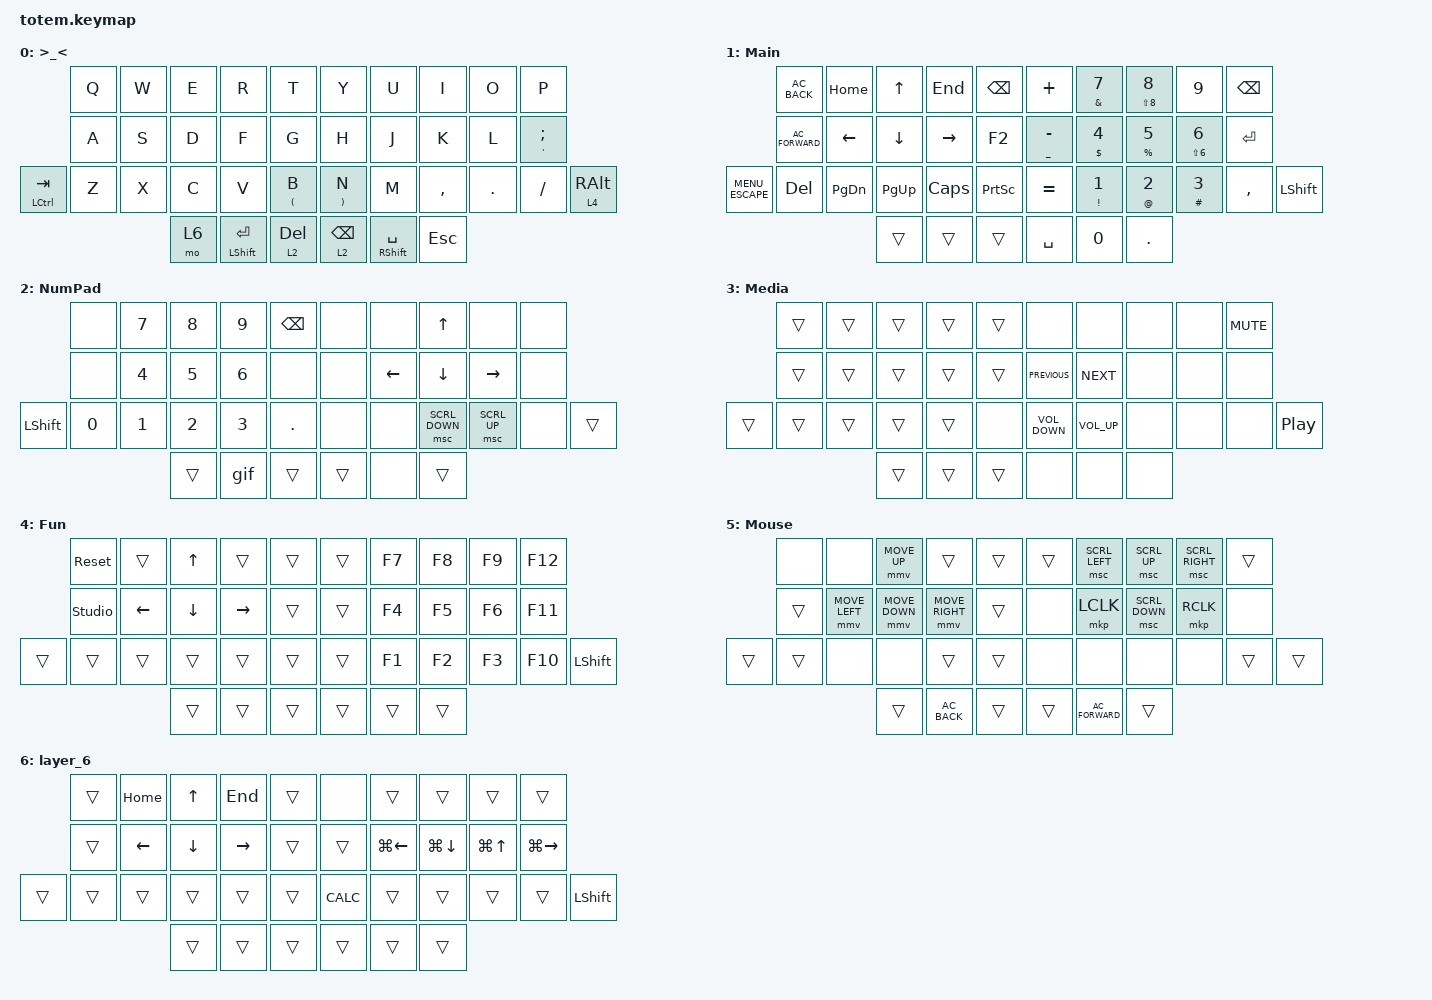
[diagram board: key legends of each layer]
//
//                                                        ▀▀▀▀▀     ▀▀▀▀▀          ▀▀█▀▀
//                                                        ▄▀▀▀▄  ▄  ▄▀▀▀▄  ▄  ▄▀▀▀▄  █  ▄▀▀▀▄
//                                                        █   █  █  █   █  █  █   █  █  █   █
//                                                         ▀▀▀   █   ▀▀▀   █   ▀▀▀   ▀   ▀▀▀
//                                                               █      ▄▄▄█▄▄▄    █   █  
//                                                               ▀      █  █  █     █▄█
//                                                             ▀▀▀▀▀    █  █  █      ▀
//                                                                      ▀  ▀  ▀
//
// ▄▄▄▄▄▄▄▄▄▄▄▄▄▄▄▄▄▄▄▄▄▄▄▄▄▄▄▄▄▄▄▄▄▄▄▄▄▄▄▄▄▄▄▄▄▄▄▄▄▄▄▄▄▄▄▄▄▄▄▄▄▄▄▄▄▄▄▄▄▄▄▄▄▄▄▄▄▄▄▄▄▄▄▄▄▄▄▄▄▄▄▄▄▄▄▄▄▄▄▄▄▄▄▄▄▄▄▄▄▄▄▄▄▄▄▄▄▄▄▄▄▄▄▄▄▄▄▄▄▄▄▄▄▄▄▄▄▄▄▄▄▄▄▄▄▄▄▄▄

#include <behaviors.dtsi>
#include <dt-bindings/zmk/keys.h>
#include <dt-bindings/zmk/pointing.h>

#define BASE 0
#define NAV  1
#define SYM  2
#define ADJ  3
#define TVP1 4
#define TVP2 5

&mt {
    quick-tap-ms = <100>;
    require-prior-idle-ms = <150>;
    flavor = "tap-preferred";
    tapping-term-ms = <180>;
};

/ {
    combos {
        compatible = "zmk,combos";

        wave {
            bindings = <&kp TILDE>;
            key-positions = <0 1>;
        };

        Bcom {
            bindings = <&kp B>;
            key-positions = <26 27>;
        };
    };

    macros {
        gif: gif {
            compatible = "zmk,behavior-macro";
            #binding-cells = <0>;
            bindings =
                <&macro_press>,
                <&kp LSHFT>,
                <&macro_tap>,
                <&kp N2>,
                <&macro_release>,
                <&kp LSHFT>,
                <&macro_tap>,
                <&kp G &kp I &kp F>;
        };
    };

    behaviors {
        hm: homerow-mods {
            compatible = "zmk,behavior-hold-tap";
            bindings = <&kp>, <&kp>;

            #binding-cells = <2>;
            tapping-term-ms = <190>;
            quick-tap-ms = <100>;
            flavor = "tap-preferred";
        };

        retroT: retroT {
            compatible = "zmk,behavior-hold-tap";
            bindings = <&lt>, <&kp>;

            #binding-cells = <2>;
            tapping-term-ms = <180>;
            quick-tap-ms = <100>;
            flavor = "hold-preferred";
            retro-tap;
        };
    };

    keymap {
        compatible = "zmk,keymap";

        // ▄▄▄▄▄▄▄▄▄▄▄▄▄▄▄▄▄▄▄▄▄▄▄▄▄▄▄▄▄▄▄▄▄▄▄▄▄▄▄▄▄▄▄▄▄▄▄▄▄▄▄▄▄▄▄▄▄▄▄▄▄▄▄▄▄▄▄▄▄▄▄▄▄▄▄▄▄▄▄▄▄▄▄▄▄▄▄▄▄▄▄▄▄▄▄▄▄▄▄▄▄▄▄▄▄▄▄▄▄▄▄▄▄▄▄▄▄▄▄▄▄▄▄▄▄▄▄▄▄▄▄▄▄▄▄▄▄▄▄▄▄▄▄▄▄▄▄▄▄

        base_layer {
            display-name = ">_<";

            //             ┏━━━━━━━━━━━┳━━━━━━━━━━━┳━━━━━━━━━━━┳━━━━━━━━━━━┳━━━━━━━━━━━┓   ┏━━━━━━━━━━━┳━━━━━━━━━━━┳━━━━━━━━━━━┳━━━━━━━━━━━┳━━━━━━━━━━━┓
            //             ┃     Q     ┃     W     ┃     F     ┃     P     ┃     G     ┃   ┃     J     ┃     L     ┃     U     ┃     Y     ┃     ;     ┃
            //             ┣━━━━━━━━━━━╋━━━━━━━━━━━╋━━━━━━━━━━━╋━━━━━━━━━━━╋━━━━━━━━━━━┫   ┣━━━━━━━━━━━╋━━━━━━━━━━━╋━━━━━━━━━━━╋━━━━━━━━━━━╋━━━━━━━━━━━┫
            //             ┃     A     ┃     R     ┃     S     ┃     T     ┃     D     ┃   ┃     H     ┃     N     ┃     E     ┃     I     ┃     O     ┃
            // ┏━━━━━━━━━━━╋━━━━━━━━━━━╋━━━━━━━━━━━╋━━━━━━━━━━━╋━━━━━━━━━━━╋━━━━━━━━━━━┫   ┣━━━━━━━━━━━╋━━━━━━━━━━━╋━━━━━━━━━━━╋━━━━━━━━━━━╋━━━━━━━━━━━╋━━━━━━━━━━━┓
            // ┃     Q     ┃     Z     ┃     X     ┃     C     ┃     V     ┃     B     ┃   ┃     K     ┃     M     ┃     ,     ┃     .     ┃     /     ┃     \     ┃
            // ┗━━━━━━━━━━━┻━━━━━━━━━━━┻━━━━━━━━━━━╋━━━━━━━━━━━╋━━━━━━━━━━━╋━━━━━━━━━━━┫   ┣━━━━━━━━━━━╋━━━━━━━━━━━╋━━━━━━━━━━━╋━━━━━━━━━━━┻━━━━━━━━━━━┻━━━━━━━━━━━┛
            //                                     ┃    DEL    ┃    TAB    ┃    SPC    ┃   ┃   ENTER   ┃           ┃   BSPC    ┃
            //                                     ┗━━━━━━━━━━━┻━━━━━━━━━━━┻━━━━━━━━━━━┛   ┗━━━━━━━━━━━┻━━━━━━━━━━━┻━━━━━━━━━━━┛

            bindings = <
               &kp Q  &kp W  &kp E  &kp R            &kp T                     &kp Y                    &kp U            &kp I      &kp O    &kp P
               &kp A  &kp S  &kp D  &kp F            &kp G                     &kp H                    &kp J            &kp K      &kp L    &mt SQT SEMICOLON
&mt LCTRL TAB  &kp Z  &kp X  &kp C  &kp V            &mt LEFT_PARENTHESIS B    &mt RIGHT_PARENTHESIS N  &kp M            &kp COMMA  &kp DOT  &kp FSLH           &lt 4 RALT
                             &mo 6  &mt LSHFT ENTER  &lt 2 DEL                 &lt 2 BACKSPACE          &mt RSHFT SPACE  &kp ESC
            >;
        };

        Main_layer {
            display-name = "Main";

            //             ┏━━━━━━━━━━━┳━━━━━━━━━━━┳━━━━━━━━━━━┳━━━━━━━━━━━┳━━━━━━━━━━━┓   ┏━━━━━━━━━━━┳━━━━━━━━━━━┳━━━━━━━━━━━┳━━━━━━━━━━━┳━━━━━━━━━━━┓
            //             ┃           ┃           ┃     UP    ┃           ┃     {     ┃   ┃     }     ┃     7     ┃     8     ┃     9     ┃     +     ┃
            //             ┣━━━━━━━━━━━╋━━━━━━━━━━━╋━━━━━━━━━━━╋━━━━━━━━━━━╋━━━━━━━━━━━┫   ┣━━━━━━━━━━━╋━━━━━━━━━━━╋━━━━━━━━━━━╋━━━━━━━━━━━╋━━━━━━━━━━━┫
            //             ┃   SHIFT   ┃   LEFT    ┃    DOWN   ┃   RIGHT   ┃     [     ┃   ┃     ]     ┃     4     ┃     5     ┃     6     ┃     -     ┃
            // ┏━━━━━━━━━━━╋━━━━━━━━━━━╋━━━━━━━━━━━╋━━━━━━━━━━━╋━━━━━━━━━━━╋━━━━━━━━━━━┫   ┣━━━━━━━━━━━╋━━━━━━━━━━━╋━━━━━━━━━━━╋━━━━━━━━━━━╋━━━━━━━━━━━╋━━━━━━━━━━━┓
            // ┃           ┃           ┃   P UP    ┃  C LOCK   ┃  P DOWN   ┃     (     ┃   ┃     )     ┃     1     ┃     2     ┃     3     ┃     *     ┃           ┃
            // ┗━━━━━━━━━━━┻━━━━━━━━━━━┻━━━━━━━━━━━╋━━━━━━━━━━━╋━━━━━━━━━━━╋━━━━━━━━━━━┫   ┣━━━━━━━━━━━╋━━━━━━━━━━━╋━━━━━━━━━━━╋━━━━━━━━━━━┻━━━━━━━━━━━┻━━━━━━━━━━━┛
            //                                     ┃           ┃    TAB    ┃    SPC    ┃   ┃    DEL    ┃     0     ┃           ┃
            //                                     ┗━━━━━━━━━━━┻━━━━━━━━━━━┻━━━━━━━━━━━┛   ┗━━━━━━━━━━━┻━━━━━━━━━━━┻━━━━━━━━━━━┛

            bindings = <
                   &kp C_AC_BACK     &kp HOME       &kp UP       &kp END    &kp BACKSPACE      &kp PLUS         &mt AMPERSAND N7          &mt LS(N8) N8         &kp N9                     &kp BACKSPACE
                   &kp C_AC_FORWARD  &kp LEFT       &kp DOWN     &kp RIGHT  &kp F2             &mt UNDER MINUS  &mt DOLLAR NUMBER_4       &mt PERCENT N5        &mt LS(NUMBER_6) NUMBER_6  &kp ENTER
&kp C_MENU_ESCAPE  &kp DEL           &kp PAGE_DOWN  &kp PAGE_UP  &kp CAPS   &kp PRINTSCREEN    &kp EQUAL        &mt EXCLAMATION NUMBER_1  &mt AT_SIGN NUMBER_2  &mt HASH NUMBER_3          &kp COMMA      &kp LEFT_SHIFT
                                                    &trans       &trans     &trans             &kp SPACE        &kp N0                    &kp DOT
            >;
        };

        NumPad_layer {
            display-name = "NumPad";

            //             ┏━━━━━━━━━━━┳━━━━━━━━━━━┳━━━━━━━━━━━┳━━━━━━━━━━━┳━━━━━━━━━━━┓   ┏━━━━━━━━━━━┳━━━━━━━━━━━┳━━━━━━━━━━━┳━━━━━━━━━━━┳━━━━━━━━━━━┓
            //             ┃     !     ┃     @     ┃     #     ┃     $     ┃     %     ┃   ┃     ˆ     ┃     &     ┃     Ü     ┃     '     ┃     "     ┃
            //             ┣━━━━━━━━━━━╋━━━━━━━━━━━╋━━━━━━━━━━━╋━━━━━━━━━━━╋━━━━━━━━━━━┫   ┣━━━━━━━━━━━╋━━━━━━━━━━━╋━━━━━━━━━━━╋━━━━━━━━━━━╋━━━━━━━━━━━┫
            //             ┃     Ä     ┃           ┃    SZ     ┃           ┃           ┃   ┃   MUTE    ┃   YEN     ┃   EURO    ┃  POUND    ┃     Ö     ┃
            // ┏━━━━━━━━━━━╋━━━━━━━━━━━╋━━━━━━━━━━━╋━━━━━━━━━━━╋━━━━━━━━━━━╋━━━━━━━━━━━┫   ┣━━━━━━━━━━━╋━━━━━━━━━━━╋━━━━━━━━━━━╋━━━━━━━━━━━╋━━━━━━━━━━━╋━━━━━━━━━━━┓
            // ┃           ┃  EMAIL1   ┃  EMAIL2   ┃           ┃           ┃           ┃   ┃   VOL-    ┃   VOL+    ┃   LAST    ┃   NEXT    ┃     \     ┃           ┃
            // ┗━━━━━━━━━━━┻━━━━━━━━━━━┻━━━━━━━━━━━╋━━━━━━━━━━━╋━━━━━━━━━━━╋━━━━━━━━━━━┫   ┣━━━━━━━━━━━╋━━━━━━━━━━━╋━━━━━━━━━━━╋━━━━━━━━━━━┻━━━━━━━━━━━┻━━━━━━━━━━━┛
            //                                     ┃           ┃    GIF    ┃    ADJ    ┃   ┃           ┃           ┃           ┃
            //                                     ┗━━━━━━━━━━━┻━━━━━━━━━━━┻━━━━━━━━━━━┛   ┗━━━━━━━━━━━┻━━━━━━━━━━━┻━━━━━━━━━━━┛

            bindings = <
                &none   &kp N7        &kp N8        &kp N9        &kp BACKSPACE    &none   &none     &kp UP          &none         &none
                &none   &kp NUMBER_4  &kp N5        &kp NUMBER_6  &none            &none   &kp LEFT  &kp DOWN        &kp RIGHT     &none
&kp LEFT_SHIFT  &kp N0  &kp NUMBER_1  &kp NUMBER_2  &kp NUMBER_3  &kp DOT          &none   &none     &msc SCRL_DOWN  &msc SCRL_UP  &none  &trans
                                      &trans        &gif          &trans           &trans  &none     &trans
            >;
        };

        Media_layer {
            display-name = "Media";

            //             ┏━━━━━━━━━━━┳━━━━━━━━━━━┳━━━━━━━━━━━┳━━━━━━━━━━━┳━━━━━━━━━━━┓   ┏━━━━━━━━━━━┳━━━━━━━━━━━┳━━━━━━━━━━━┳━━━━━━━━━━━┳━━━━━━━━━━━┓
            //             ┃ NEXT FILE ┃ MARK IN   ┃ ROTATE    ┃ MARK OUT  ┃ SHOW SNAP ┃   ┃           ┃           ┃           ┃           ┃           ┃
            //             ┣━━━━━━━━━━━╋━━━━━━━━━━━╋━━━━━━━━━━━╋━━━━━━━━━━━╋━━━━━━━━━━━┫   ┣━━━━━━━━━━━╋━━━━━━━━━━━╋━━━━━━━━━━━╋━━━━━━━━━━━╋━━━━━━━━━━━┫
            //             ┃ TVP II    ┃ LEFT      ┃ PAN       ┃ RIGHT     ┃ PLAY/FLIP ┃   ┃           ┃           ┃           ┃           ┃           ┃
            // ┏━━━━━━━━━━━╋━━━━━━━━━━━╋━━━━━━━━━━━╋━━━━━━━━━━━╋━━━━━━━━━━━╋━━━━━━━━━━━┫   ┣━━━━━━━━━━━╋━━━━━━━━━━━╋━━━━━━━━━━━╋━━━━━━━━━━━╋━━━━━━━━━━━╋━━━━━━━━━━━┓
            // ┃ FULLSCR   ┃ SHIFT     ┃ COPY      ┃ DELETE    ┃ PASTE     ┃ IMG MARK  ┃   ┃           ┃           ┃           ┃           ┃           ┃           ┃
            // ┗━━━━━━━━━━━┻━━━━━━━━━━━┻━━━━━━━━━━━╋━━━━━━━━━━━╋━━━━━━━━━━━╋━━━━━━━━━━━┫   ┣━━━━━━━━━━━╋━━━━━━━━━━━╋━━━━━━━━━━━╋━━━━━━━━━━━┻━━━━━━━━━━━┻━━━━━━━━━━━┛
            //                                     ┃           ┃ UNDO/SAVE ┃  SEL/MOV  ┃   ┃           ┃           ┃           ┃
            //                                     ┗━━━━━━━━━━━┻━━━━━━━━━━━┻━━━━━━━━━━━┛   ┗━━━━━━━━━━━┻━━━━━━━━━━━┻━━━━━━━━━━━┛

            bindings = <
        &trans  &trans  &trans  &trans  &trans    &none              &none            &none  &none  &kp C_MUTE
        &trans  &trans  &trans  &trans  &trans    &kp C_PREVIOUS     &kp C_NEXT       &none  &none  &none
&trans  &trans  &trans  &trans  &trans  &none     &kp C_VOLUME_DOWN  &kp C_VOLUME_UP  &none  &none  &none       &kp C_PLAY_PAUSE
                        &trans  &trans  &trans    &none              &none            &none
            >;
        };

        Function_layer {
            display-name = "Fun";

            //             ┏━━━━━━━━━━━┳━━━━━━━━━━━┳━━━━━━━━━━━┳━━━━━━━━━━━┳━━━━━━━━━━━┓   ┏━━━━━━━━━━━┳━━━━━━━━━━━┳━━━━━━━━━━━┳━━━━━━━━━━━┳━━━━━━━━━━━┓
            //             ┃   RESET   ┃ BT CLEAR  ┃  OUT TOG  ┃           ┃           ┃   ┃           ┃    F7     ┃    F8     ┃    F9     ┃    F12    ┃
            //             ┣━━━━━━━━━━━╋━━━━━━━━━━━╋━━━━━━━━━━━╋━━━━━━━━━━━╋━━━━━━━━━━━┫   ┣━━━━━━━━━━━╋━━━━━━━━━━━╋━━━━━━━━━━━╋━━━━━━━━━━━╋━━━━━━━━━━━┫
            //             ┃ BOOTLOAD  ┃ BT NEXT   ┃           ┃           ┃           ┃   ┃           ┃    F4     ┃    F5     ┃    F6     ┃    F11    ┃
            // ┏━━━━━━━━━━━╋━━━━━━━━━━━╋━━━━━━━━━━━╋━━━━━━━━━━━╋━━━━━━━━━━━╋━━━━━━━━━━━┫   ┣━━━━━━━━━━━╋━━━━━━━━━━━╋━━━━━━━━━━━╋━━━━━━━━━━━╋━━━━━━━━━━━╋━━━━━━━━━━━┓
            // ┃           ┃           ┃ BT PREV   ┃           ┃           ┃           ┃   ┃           ┃    F1     ┃    F2     ┃    F3     ┃    F10    ┃           ┃
            // ┗━━━━━━━━━━━┻━━━━━━━━━━━┻━━━━━━━━━━━╋━━━━━━━━━━━╋━━━━━━━━━━━╋━━━━━━━━━━━┫   ┣━━━━━━━━━━━╋━━━━━━━━━━━╋━━━━━━━━━━━╋━━━━━━━━━━━┻━━━━━━━━━━━┻━━━━━━━━━━━┛
            //                                     ┃           ┃           ┃           ┃   ┃           ┃           ┃           ┃
            //                                     ┗━━━━━━━━━━━┻━━━━━━━━━━━┻━━━━━━━━━━━┛   ┗━━━━━━━━━━━┻━━━━━━━━━━━┻━━━━━━━━━━━┛

            bindings = <
        &sys_reset      &trans    &kp UP_ARROW  &trans     &trans    &trans  &kp F7  &kp F8  &kp F9  &kp F12
        &studio_unlock  &kp LEFT  &kp DOWN      &kp RIGHT  &trans    &trans  &kp F4  &kp F5  &kp F6  &kp F11
&trans  &trans          &trans    &trans        &trans     &trans    &trans  &kp F1  &kp F2  &kp F3  &kp F10  &kp LEFT_SHIFT
                                  &trans        &trans     &trans    &trans  &trans  &trans
            >;
        };

        Mouse {
            bindings = <
        &none   &none           &mmv MOVE_UP    &trans           &trans    &trans  &msc SCRL_LEFT    &msc SCRL_UP    &msc SCRL_RIGHT  &trans
        &trans  &mmv MOVE_LEFT  &mmv MOVE_DOWN  &mmv MOVE_RIGHT  &trans    &none   &mkp LCLK         &msc SCRL_DOWN  &mkp RCLK        &none
&trans  &trans  &none           &none           &trans           &trans    &none   &none             &none           &none            &trans  &trans
                                &trans          &kp C_AC_BACK    &trans    &trans  &kp C_AC_FORWARD  &trans
            >;
        };

        layer_6 {
            bindings = <
        &trans  &kp HOME        &kp UP_ARROW  &kp END    &trans    &none       &trans        &trans        &trans            &trans
        &trans  &kp LEFT_ARROW  &kp DOWN      &kp RIGHT  &trans    &trans      &kp LG(LEFT)  &kp LG(DOWN)  &kp LG(UP_ARROW)  &kp LG(RIGHT)
&trans  &trans  &trans          &trans        &trans     &trans    &kp K_CALC  &trans        &trans        &trans            &trans         &kp LEFT_SHIFT
                                &trans        &trans     &trans    &trans      &trans        &trans
            >;
        };

        // ▄▄▄▄▄▄▄▄▄▄▄▄▄▄▄▄▄▄▄▄▄▄▄▄▄▄▄▄▄▄▄▄▄▄▄▄▄▄▄▄▄▄▄▄▄▄▄▄▄▄▄▄▄▄▄▄▄▄▄▄▄▄▄▄▄▄▄▄▄▄▄▄▄▄▄▄▄▄▄▄▄▄▄▄▄▄▄▄▄▄▄▄▄▄▄▄▄▄▄▄▄▄▄▄▄▄▄▄▄▄▄▄▄▄▄▄▄▄▄▄▄▄▄▄▄▄▄▄▄▄▄▄▄▄▄▄▄▄▄▄▄▄▄▄▄▄▄▄▄
    };
};
